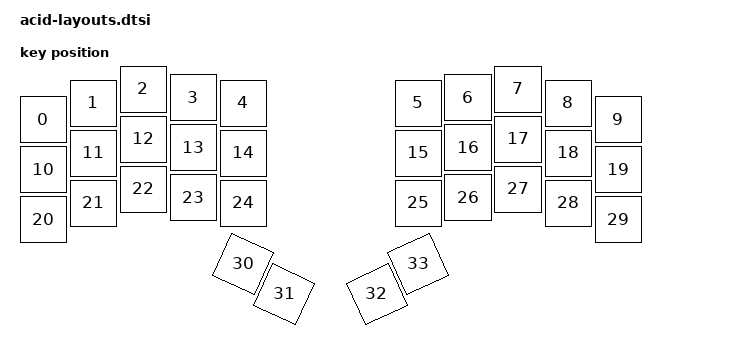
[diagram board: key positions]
#include <physical_layouts.dtsi>

/ {
    default_layout: default_layout {
        compatible = "zmk,physical-layout";
        display-name = "Default Layout";
        transform = <&default_transform>;

        keys  //                     w   h    x    y     rot    rx    ry
            = <&key_physical_attrs 100 100    0   61       0     0     0>
            , <&key_physical_attrs 100 100  100   28       0     0     0>
            , <&key_physical_attrs 100 100  200    0       0     0     0>
            , <&key_physical_attrs 100 100  300   17       0     0     0>
            , <&key_physical_attrs 100 100  400   28       0     0     0>
            , <&key_physical_attrs 100 100  750   28       0     0     0>
            , <&key_physical_attrs 100 100  850   17       0     0     0>
            , <&key_physical_attrs 100 100  950    0       0     0     0>
            , <&key_physical_attrs 100 100 1050   28       0     0     0>
            , <&key_physical_attrs 100 100 1150   61       0     0     0>
            , <&key_physical_attrs 100 100    0  161       0     0     0>
            , <&key_physical_attrs 100 100  100  128       0     0     0>
            , <&key_physical_attrs 100 100  200  100       0     0     0>
            , <&key_physical_attrs 100 100  300  117       0     0     0>
            , <&key_physical_attrs 100 100  400  128       0     0     0>
            , <&key_physical_attrs 100 100  750  128       0     0     0>
            , <&key_physical_attrs 100 100  850  117       0     0     0>
            , <&key_physical_attrs 100 100  950  100       0     0     0>
            , <&key_physical_attrs 100 100 1050  128       0     0     0>
            , <&key_physical_attrs 100 100 1150  161       0     0     0>
            , <&key_physical_attrs 100 100    0  261       0     0     0>
            , <&key_physical_attrs 100 100  100  228       0     0     0>
            , <&key_physical_attrs 100 100  200  200       0     0     0>
            , <&key_physical_attrs 100 100  300  217       0     0     0>
            , <&key_physical_attrs 100 100  400  228       0     0     0>
            , <&key_physical_attrs 100 100  750  228       0     0     0>
            , <&key_physical_attrs 100 100  850  217       0     0     0>
            , <&key_physical_attrs 100 100  950  200       0     0     0>
            , <&key_physical_attrs 100 100 1050  228       0     0     0>
            , <&key_physical_attrs 100 100 1150  261       0     0     0>
            , <&key_physical_attrs 100 100  400  350    2500   450   400>
            , <&key_physical_attrs 100 100  500  370    2500   450   400>
            , <&key_physical_attrs 100 100  650  370  (-2500)  800   400>
            , <&key_physical_attrs 100 100  750  350  (-2500)  800   400>
            ;
    };
};

